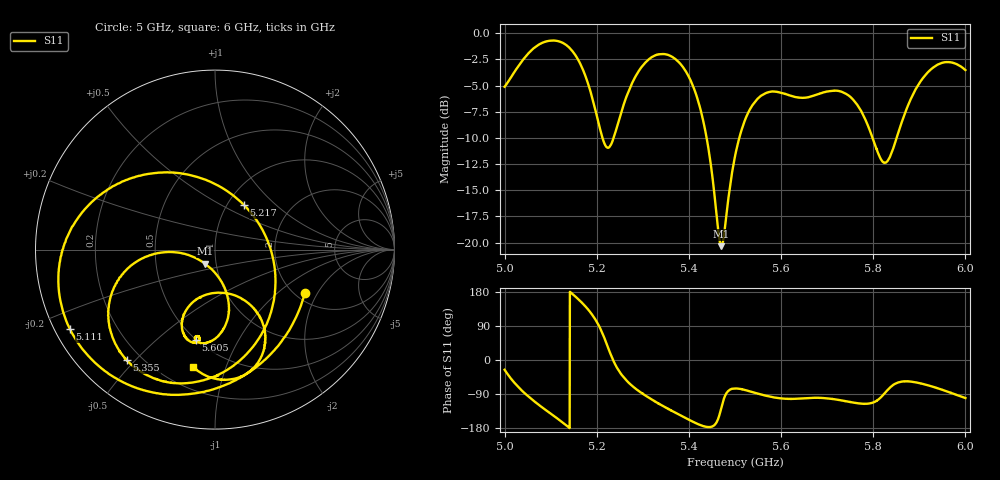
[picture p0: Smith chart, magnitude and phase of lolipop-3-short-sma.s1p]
# HZ S RI R 50
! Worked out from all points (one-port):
!   2020 points, 5 GHz to 6 GHz, reference 50 ohm
!   lowest |S11| = -20.3 dB at 5.471 GHz (marker M1), VSWR 1.21, Z = 44.2 - j7.01 ohm
!   |S11| at or under -10 dB: 5.212395 GHz to 5.236591 GHz (24.2 MHz wide, 0.463 % of centre); 5.438 GHz to 5.509 GHz (70.89 MHz wide, 1.3 % of centre); 5.798 GHz to 5.851 GHz (52.26 MHz wide, 0.897 % of centre)
!   S11 on the Smith chart (normalised r, x): 5 GHz: 2.25, -1.57; 5.111 GHz: 0.04, -0.26; 5.217 GHz: 1.19, +0.65; 5.355 GHz: 0.15, -0.47; 5.605 GHz: 0.50, -0.68; 6 GHz: 0.33, -0.78
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5e9  0.5002 -0.2412
5.029718e9  0.2246 -0.6589
5.055473e9  -0.1434 -0.805
5.081228e9  -0.5137 -0.7378
5.110946e9  -0.808 -0.4434
5.12531e9  -0.868 -0.2441
5.150074e9  -0.796 0.1282
5.17682e9  -0.4643 0.399
5.196137e9  -0.1392 0.4153
5.216939e9  0.1622 0.248
5.250124e9  0.3358 -0.2139
5.302625e9  -0.0174 -0.7124
5.326895e9  -0.2666 -0.739
5.354631e9  -0.4923 -0.6154
5.375434e9  -0.5829 -0.4514
5.400694e9  -0.5699 -0.229
5.42744e9  -0.4095 -0.0513
5.47053e9  -0.0554 -0.0785
5.500248e9  0.0668 -0.2515
5.543339e9  0.0278 -0.4694
5.60525e9  -0.1069 -0.5045
5.625062e9  -0.1092 -0.4874
5.750372e9  -0.1744 -0.4651
5.787024e9  -0.1583 -0.3332
5.824171e9  0.00595 -0.2405
5.875186e9  0.2497 -0.375
5.947995e9  0.1507 -0.7049
6.000001e9  -0.1202 -0.6563
